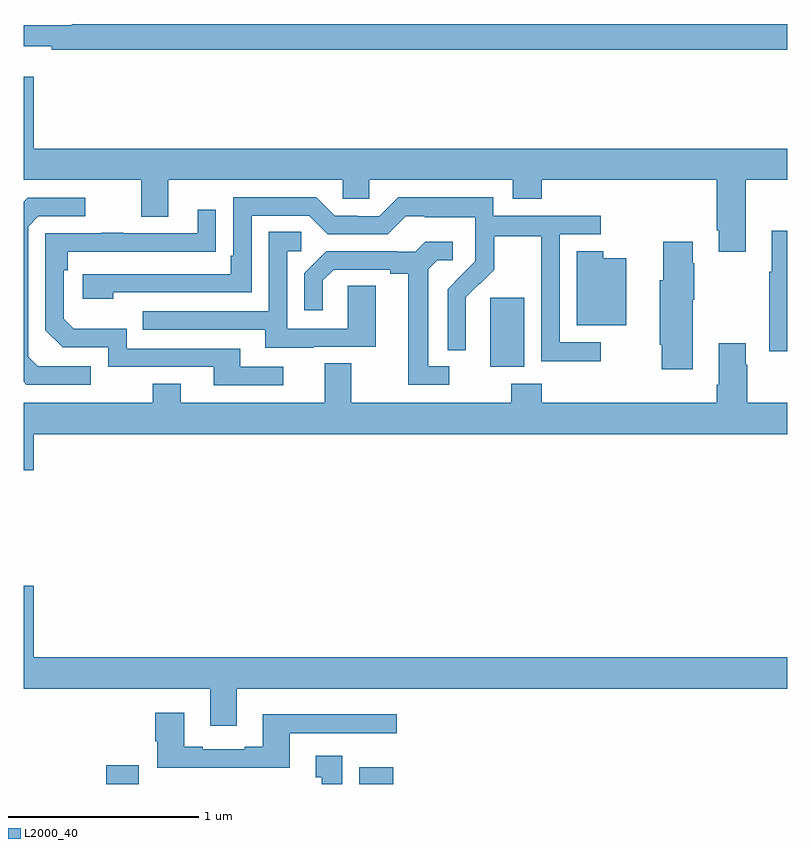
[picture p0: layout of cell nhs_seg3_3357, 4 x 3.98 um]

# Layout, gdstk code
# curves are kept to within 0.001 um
import gdstk
lib = gdstk.Library(unit=1e-6, precision=1e-09)
def R(c, l, rs):  # rectangles x0, y0, x1, y1
    for r in rs: c.add(gdstk.rectangle(r[:2], r[2:], *l))
def P(c, l, *ps):  # polygons
    for p in ps: c.add(gdstk.Polygon(p, *l))
L2000_40 = (2000, 40)

nhs_seg3_3357 = lib.new_cell('nhs_seg3_3357')
R(nhs_seg3_3357, L2000_40, [(285.434,716.4,285.604,716.497), (286.757,716.4,286.936,716.488), (287.444,718.586,287.623,718.947)])
P(nhs_seg3_3357, L2000_40, [(289,720.38),(285.251,720.38),(285.251,720.373),(285,720.373),(285,720.263),(285.148,720.263),(285.148,720.244),(289,720.244)],
  [(288.781,719.564),(289,719.564),(289,719.728),(285.052,719.728),(285.052,720.103),(285,720.103),(285,719.564),(285.617,719.564),(285.617,719.37),(285.757,719.37),(285.757,719.564),(286.671,719.564),(286.671,719.466),(286.809,719.466),(286.809,719.564),(287.561,719.564),(287.561,719.465),(287.714,719.465),(287.714,719.564),(288.629,719.564),(288.629,719.299),(288.641,719.299),(288.641,719.187),(288.781,719.187)],
  [(288.022,718.713),(287.808,718.713),(287.808,719.28),(288.022,719.28),(288.022,719.376),(287.46,719.376),(287.46,719.473),(286.963,719.473),(286.863,719.373),(286.748,719.373),(286.748,719.376),(286.629,719.376),(286.533,719.472),(286.098,719.472),(286.098,719.167),(286.085,719.167),(286.085,719.07),(285.309,719.07),(285.309,718.94),(285.47,718.94),(285.47,718.974),(286.194,718.974),(286.194,719.376),(286.497,719.376),(286.593,719.28),(286.908,719.28),(287.001,719.373),(287.101,719.373),(287.101,719.369),(287.364,719.369),(287.364,719.235),(287.366,719.235),(287.366,719.138),(287.22,718.99),(287.22,718.672),(287.316,718.672),(287.315,718.949),(287.385,719.019),(287.388,719.016),(287.465,719.093),(287.465,719.268),(287.71,719.268),(287.71,719.044),(287.712,719.044),(287.712,718.615),(288.022,718.615)],
  [(285.352,718.587),(285.075,718.587),(285.024,718.638),(285.024,719.319),(285.078,719.373),(285.322,719.373),(285.322,719.469),(285.021,719.469),(285,719.448),(285,718.506),(285.015,718.491),(285.352,718.491)],
  [(286.36,718.584),(286.135,718.584),(286.135,718.68),(285.54,718.68),(285.54,718.783),(285.263,718.783),(285.21,718.836),(285.21,719.09),(285.23,719.09),(285.23,719.187),(286.007,719.188),(286.007,719.407),(285.911,719.407),(285.911,719.283),(285.521,719.283),(285.521,719.288),(285.409,719.288),(285.409,719.283),(285.114,719.283),(285.114,718.776),(285.204,718.686),(285.444,718.686),(285.444,718.584),(285.995,718.584),(285.995,718.488),(286.36,718.488)],
  [(289,719.296),(288.917,719.296),(288.917,719.083),(288.906,719.083),(288.906,718.667),(289,718.667)],
  [(286.519,718.689),(286.843,718.689),(286.843,719.009),(286.698,719.009),(286.698,718.785),(286.38,718.785),(286.38,719.19),(286.453,719.19),(286.453,719.291),(286.284,719.291),(286.284,718.875),(285.625,718.875),(285.625,718.779),(286.265,718.779),(286.265,718.685),(286.519,718.685)],
  [(288.505,718.937),(288.513,718.937),(288.513,719.126),(288.505,719.126),(288.505,719.239),(288.35,719.239),(288.35,719.037),(288.332,719.037),(288.332,718.701),(288.343,718.701),(288.343,718.572),(288.505,718.572)],
  [(287.23,718.587),(287.119,718.587),(287.119,719.095),(287.166,719.142),(287.248,719.142),(287.248,719.239),(287.104,719.239),(287.052,719.187),(286.958,719.187),(286.958,719.19),(286.586,719.19),(286.47,719.074),(286.47,718.881),(286.567,718.881),(286.567,719.037),(286.624,719.094),(286.919,719.094),(286.919,719.072),(287.015,719.072),(287.015,718.491),(287.23,718.491)],
  [(288.157,719.152),(288.036,719.152),(288.036,719.191),(287.897,719.191),(287.897,718.802),(288.157,718.802)],
  [(285.052,718.232),(289,718.232),(289,718.396),(288.789,718.396),(288.789,718.595),(288.781,718.595),(288.781,718.708),(288.641,718.708),(288.641,718.492),(288.629,718.492),(288.629,718.396),(287.714,718.396),(287.714,718.495),(287.554,718.495),(287.554,718.396),(286.717,718.396),(286.717,718.604),(286.577,718.604),(286.577,718.396),(285.823,718.396),(285.823,718.495),(285.676,718.495),(285.676,718.396),(285,718.396),(285,718.044),(285.052,718.044)],
  [(286.117,716.9),(289,716.9),(289,717.064),(285.052,717.064),(285.052,717.439),(285,717.439),(285,716.9),(285.977,716.9),(285.977,716.706),(286.117,716.706)],
  [(286.393,716.667),(286.954,716.667),(286.954,716.764),(286.253,716.764),(286.253,716.596),(286.157,716.596),(286.157,716.583),(285.937,716.583),(285.937,716.596),(285.841,716.596),(285.841,716.773),(285.689,716.773),(285.689,716.625),(285.701,716.625),(285.701,716.486),(286.393,716.486)],
  [(286.669,716.548),(286.529,716.548),(286.529,716.435),(286.562,716.435),(286.562,716.4),(286.669,716.4)])

lib.write_gds('nhs_seg3_3357.gds')
